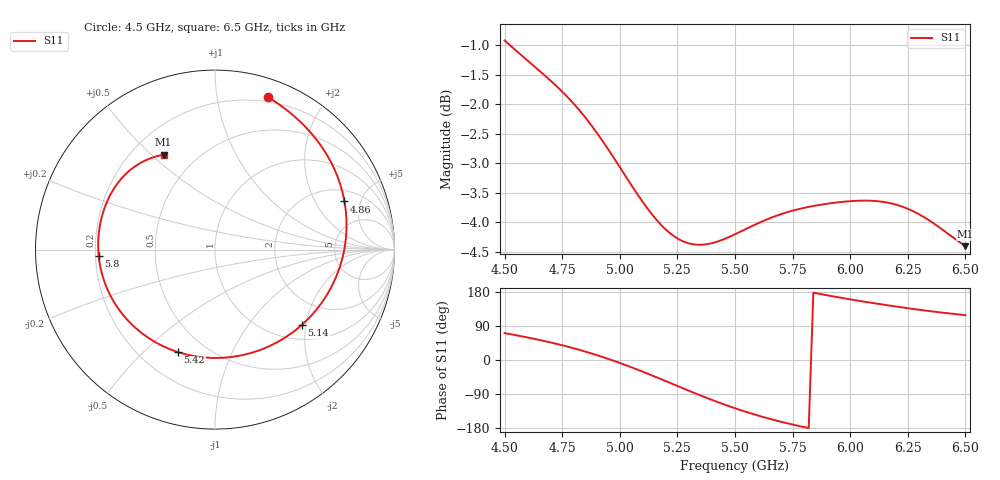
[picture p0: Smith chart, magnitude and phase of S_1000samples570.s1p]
! TOUCHSTONE file generated by CST MICROWAVE STUDIO
! Date and time: Fri Oct 28 15:32:34 2022
! Project name: L.cst
! Parameters = {Di=1.27; Epsilon_r=1.56; InnerDiameter=1.27; Length=2; Lf=10; Lg=60; OuterConductorThickness=0.2921; OuterDiameter=3.6; Wf=3; Wp=41.2; de=1.5; df=6.8; g=0.8; gx=4.61614; gy=0.6644; h=2.34; hf=1.524; px=13.3719; py=9.40916; w=9.7; wx=8.75579; wy=8.74476}
! Header version: 2018
! Port assignment regex: !\s*Touchstone port\s*([0-9]+)\s*=\s*(CST MWS port|CST DS port)\s*([0-9]+|Zmin|Zmax)\s*\(\"(.*)\"\)(\s*mode\s*([0-9]+))?.*
! Touchstone port assignment:
! Touchstone port 1 = CST MWS port 1 ("")
# GHz S DB R 50
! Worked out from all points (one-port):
!   101 points, 4.5 GHz to 6.5 GHz, reference 50 ohm
!   lowest |S11| = -4.4 dB at 6.5 GHz (marker M1), VSWR 4.03, Z = 16.5 + j27.3 ohm
!   |S11| at or under -10 dB: nowhere
!   S11 on the Smith chart (normalised r, x): 4.5 GHz: 0.16, +1.39; 4.86 GHz: 2.73, +3.59; 5.14 GHz: 1.34, -1.90; 5.42 GHz: 0.35, -0.64; 5.8 GHz: 0.21, -0.02; 6.5 GHz: 0.33, +0.55
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4.5  -0.92 70.9
4.58  -1.20 61.8
4.64  -1.40 54.4
4.7  -1.61 46.3
4.76  -1.83 37.3
4.82  -2.08 27.5
4.86  -2.28 20.4
4.94  -2.71 4.9
5  -3.07 -7.9
5.06  -3.43 -21.5
5.14  -3.87 -40.8
5.2  -4.12 -55.9
5.26  -4.30 -71.1
5.3  -4.36 -81.2
5.34  -4.38 -91.1
5.42  -4.33 -110.0
5.5  -4.20 -127.3
5.56  -4.09 -139.2
5.62  -3.98 -150.0
5.68  -3.89 -159.9
5.76  -3.79 -171.7
5.8  -3.76 -177.1
5.9  -3.69 170.8
6  -3.64 160.0
6.14  -3.65 146.5
6.26  -3.79 135.9
6.38  -4.07 126.4
6.5  -4.40 118.4
